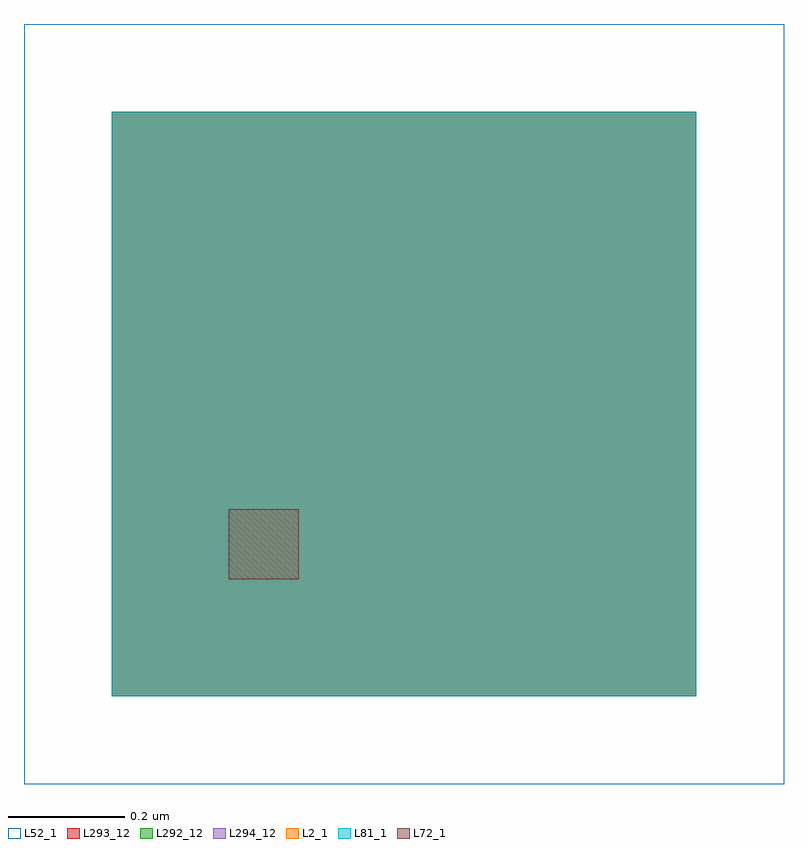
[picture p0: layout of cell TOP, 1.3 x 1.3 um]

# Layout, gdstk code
import gdstk
lib = gdstk.Library(unit=1e-6, precision=1e-09)
def R(c, l, rs):  # rectangles x0, y0, x1, y1
    for r in rs: c.add(gdstk.rectangle(r[:2], r[2:], *l))
L2_1 = (2, 1)
L52_1 = (52, 1)
L72_1 = (72, 1)
L81_1 = (81, 1)
L292_12 = (292, 12)
L293_12 = (293, 12)
L294_12 = (294, 12)

top = lib.new_cell('TOP')
R(top, L2_1, [(0,0,1,1)])
R(top, L52_1, [(-0.15,-0.15,1.15,1.15)])
R(top, L72_1, [(0.2,0.2,0.32,0.32)])
R(top, L81_1, [(0,0,1,1)])
R(top, L292_12, [(0,0,1,1)])
R(top, L293_12, [(0,0,1,1)])
R(top, L294_12, [(0,0,1,1)])

lib.write_gds('TOP.gds')
